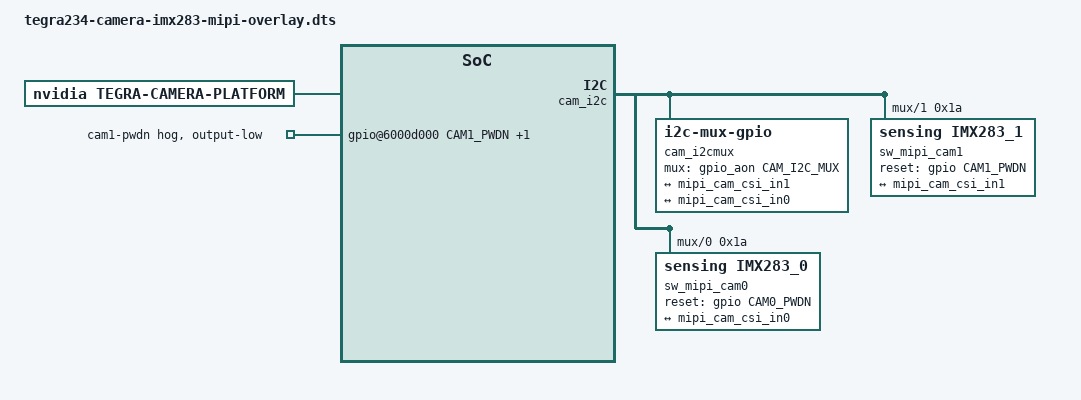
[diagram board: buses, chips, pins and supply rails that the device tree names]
// SPDX-License-Identifier: GPL-2.0-only
// SPDX-FileCopyrightText: Copyright (c) 2023-2024, NVIDIA CORPORATION & AFFILIATES. All rights reserved.

/dts-v1/;
/plugin/;

#define CAM0_PWDN	TEGRA234_MAIN_GPIO(H, 6)
#define CAM1_PWDN	TEGRA234_MAIN_GPIO(AC, 0)
#define CAM_I2C_MUX 	TEGRA234_AON_GPIO(CC, 3)

#include <dt-bindings/tegra234-p3767-0000-common.h>

/ {
	overlay-name = "Camera SG20-MIPI-IMX283";
	jetson-header-name = "Jetson 24pin CSI Connector";
	compatible = JETSON_COMPATIBLE_P3768;
	/* SG20-MIPI-imx283 connected to cam1 port */

	fragment@0 {
		target-path = "/";
		__overlay__ {
			tegra-capture-vi  {
				num-channels = <2>;
				ports {
					#address-cells = <1>;
					#size-cells = <0>;
					port@0 {
						reg = <0>;
						mipi_cam_vi_in0: endpoint {
							port-index = <1>;
							bus-width = <2>;
							remote-endpoint = <&mipi_cam_csi_out0>;
						};
					};
					port@1 {
						reg = <1>;
						mipi_cam_vi_in1: endpoint {
							port-index = <2>;
							bus-width = <4>;
							remote-endpoint = <&mipi_cam_csi_out1>;
						};
					};
				};
			};
			tegra-camera-platform {
				compatible = "nvidia, tegra-camera-platform";

				/**
				* Physical settings to calculate max ISO BW
				*
				* num_csi_lanes = <>;
				* Total number of CSI lanes when all cameras are active
				*
				* max_lane_speed = <>;
				* Max lane speed in Kbit/s
				*
				* min_bits_per_pixel = <>;
				* Min bits per pixel
				*
				* vi_peak_byte_per_pixel = <>;
				* Max byte per pixel for the VI ISO case
				*
				* vi_bw_margin_pct = <>;
				* Vi bandwidth margin in percentage
				*
				* max_pixel_rate = <>;
				* Max pixel rate in Kpixel/s for the ISP ISO case
				*
				* isp_peak_byte_per_pixel = <>;
				* Max byte per pixel for the ISP ISO case
				*
				* isp_bw_margin_pct = <>;
				* Isp bandwidth margin in percentage
				*/
				num_csi_lanes = <4>;
				max_lane_speed = <1500000>;
				min_bits_per_pixel = <10>;
				vi_peak_byte_per_pixel = <2>;
				vi_bw_margin_pct = <25>;
				max_pixel_rate = <7500000>;
				isp_peak_byte_per_pixel = <5>;
				isp_bw_margin_pct = <25>;

				/**
				 * The general guideline for naming badge_info contains 3 parts, and is as follows,
				 * The first part is the camera_board_id for the module; if the module is in a FFD
				 * platform, then use the platform name for this part.
				 * The second part contains the position of the module, ex. "rear" or "front".
				 * The third part contains the last 6 characters of a part number which is found
				 * in the module's specsheet from the vendor.
				 */
				modules {
					module0 {
						
						badge = "sgx_rear_imx283";
						position = "rear";
						orientation = "1";
						drivernode0 {
							pcl_id = "v4l2_sensor";
							sysfs-device-tree = "/sys/firmware/devicetree/base/bus@0/cam_i2cmux/i2c@1/cam_0@1a";
						};
					};
					module1 {
						badge = "sgx_front_imx283";
						position = "front";
						orientation = "1";
						drivernode0 {
							pcl_id = "v4l2_sensor";
							sysfs-device-tree = "/sys/firmware/devicetree/base/bus@0/cam_i2cmux/i2c@0/cam_1@1a";
						};
					};
				};
			};
			bus@0 {
				host1x@13e00000 {
					nvcsi@15a00000 {
						num-channels = <2>;
						#address-cells = <1>;
						#size-cells = <0>;
						channel@0 {
							reg = <0>;
							ports {
								#address-cells = <1>;
								#size-cells = <0>;
								port@0 {
									reg = <0>;
									mipi_cam_csi_in0: endpoint@0 {
										port-index = <1>;
										bus-width = <2>;
										remote-endpoint = <&mipi_cam_out0>;
									};
								};
								port@1 {
									reg = <1>;
									mipi_cam_csi_out0: endpoint@1 {
										remote-endpoint = <&mipi_cam_vi_in0>;
									};
								};
							};
						};
						channel@1 {
							reg = <1>;
							ports {
								#address-cells = <1>;
								#size-cells = <0>;
								port@0 {
									reg = <0>;
									mipi_cam_csi_in1: endpoint@2 {
										port-index = <2>;
										bus-width = <4>;
										remote-endpoint = <&mipi_cam_out1>;
									};
								};
								port@1 {
									reg = <1>;
									mipi_cam_csi_out1: endpoint@3 {
										remote-endpoint = <&mipi_cam_vi_in1>;
									};
								};
							};
						};
					};
				};
				cam_i2cmux {
					status = "okay";
					compatible = "i2c-mux-gpio";
					#address-cells = <1>;
					#size-cells = <0>;
					mux-gpios = <&gpio_aon CAM_I2C_MUX GPIO_ACTIVE_HIGH>;
					i2c-parent = <&cam_i2c>;
					i2c@0 {
						status = "okay";
						reg = <1>;
						#address-cells = <1>;
						#size-cells = <0>;
						rbpcv2_imx219_a@10 {
							status = "disabled";
						};

						sw_mipi_cam1: cam_1@1a {
							compatible = "sensing,imx283_1";
							/* I2C device address */
							reg = <0x1a>;

							/* V4L2 device node location */
							devnode = "video1";

							/* Physical dimensions of sensor */
							physical_w = "3.680";
							physical_h = "2.760";

							sensor_model = "imx283";				
							
							/* Defines number of frames to be dropped by driver internally after applying */
							/* sensor crop settings. Some sensors send corrupt frames after applying */
							/* crop co-ordinates */
							//post_crop_frame_drop = "0";

							/* Convert Gain to unit of dB (decibel) befor passing to kernel driver */
							use_decibel_gain = "false";

							/* if true, delay gain setting by one frame to be in sync with exposure */
							//delayed_gain = "true";

							/* enable CID_SENSOR_MODE_ID for sensor modes selection */

							use_sensor_mode_id = "true";

							reset-gpios = <&gpio CAM1_PWDN GPIO_ACTIVE_HIGH>;

							mode0 {
								mclk_khz = "24000";
								num_lanes = "4";
								tegra_sinterface = "serial_c";
								phy_mode = "DPHY";
								discontinuous_clk = "yes";
								dpcm_enable = "false";
								cil_settletime = "0";
								lane_polarity = "0";

								active_w = "5496";
								active_h = "3694";
								mode_type = "bayer";
								pixel_phase = "rggb";
								csi_pixel_bit_depth = "12";
								readout_orientation = "90";
								line_length = "5740";  
								inherent_gain = "1";
								mclk_multiplier = "20";
								pix_clk_hz = "480000000";

								gain_factor = "100";
								min_gain_val = "100"; /* 0db */
								max_gain_val = "2250"; /* "27db" */
								step_gain_val = "1";
								default_gain = "100"; /* 0.00db */
								min_hdr_ratio = "1";
								max_hdr_ratio = "1";
								framerate_factor = "1000000";
								min_framerate = "20000000";/* 2.0fps */
								max_framerate = "20000000";/* 20.0fps */
								step_framerate = "1";
								default_framerate = "20000000"; /* 20.0fps */
								exposure_factor = "1000000";
								min_exp_time = "3000"; /* us */
								max_exp_time = "40000"; /* us */
								step_exp_time = "100";
								default_exp_time = "30000"; /* us */

								/* readout related settings */
								// num_of_exposure = "1";
								// num_of_ignored_lines = "24";
								// num_of_lines_offset_0 = "0";
								// num_of_ignored_pixels = "0";
								// num_of_left_margin_pixels = "108";
								// num_of_right_margin_pixels = "12";
								embedded_metadata_height = "1";
							};
							mode1{
								mclk_khz = "24000";
								num_lanes = "4";
								tegra_sinterface = "serial_c";
								phy_mode = "DPHY";
								discontinuous_clk = "yes";
								dpcm_enable = "false";
								cil_settletime = "0";
								lane_polarity = "0";

								active_w = "5496";
								active_h = "3694";
								mode_type = "bayer";
								pixel_phase = "rggb";
								csi_pixel_bit_depth = "10";
								readout_orientation = "90";
								line_length = "5592";
								inherent_gain = "1";
								mclk_multiplier = "21";
								pix_clk_hz = "518000000";

								gain_factor = "100";
								min_gain_val = "100"; /* 0db */
								max_gain_val = "2250"; /* "27db" */
								step_gain_val = "1";
								default_gain = "100"; /* 0.00db */
								min_hdr_ratio = "1";
								max_hdr_ratio = "1";
								framerate_factor = "1000000";
								min_framerate = "2000000";/* 2.0fps */
								max_framerate = "25000000";/* 25.0fps */
								step_framerate = "1";
								default_framerate = "25000000"; /* 25.0fps */
								exposure_factor = "1000000";
								min_exp_time = "3000"; /* us */
								max_exp_time = "40000"; /* us */
								step_exp_time = "100";
								default_exp_time = "33000"; /* us */
								embedded_metadata_height = "1";
							};
							mode2{
								mclk_khz = "24000";
								num_lanes = "4";
								tegra_sinterface = "serial_c";
								phy_mode = "DPHY";
								discontinuous_clk = "yes";
								dpcm_enable = "false";
								cil_settletime = "0";
								lane_polarity = "0";

								active_w = "2748";
								active_h = "1842";
								mode_type = "bayer";
								pixel_phase = "rggb";
								csi_pixel_bit_depth = "12";
								readout_orientation = "90";
								line_length = "2976";
								inherent_gain = "1";
								mclk_multiplier = "12";
								pix_clk_hz = "288000000";

								gain_factor = "100";
								min_gain_val = "100"; /* 0db */
								max_gain_val = "2250"; /* "27db" */
								step_gain_val = "1";
								default_gain = "100"; /* 0.00db */
								min_hdr_ratio = "1";
								max_hdr_ratio = "1";
								framerate_factor = "1000000";
								min_framerate = "2000000";/* 2.0fps */
								max_framerate = "50000000";/* 50.0fps */
								step_framerate = "1";
								default_framerate = "50000000"; /* 50.0fps */
								exposure_factor = "1000000";
								min_exp_time = "1000"; /* us */
								max_exp_time = "20000"; /* us */
								step_exp_time = "100";
								default_exp_time = "15000"; /* us */
								embedded_metadata_height = "1";
							};
							mode3{
								mclk_khz = "24000";
								num_lanes = "4";
								tegra_sinterface = "serial_c";
								phy_mode = "DPHY";
								discontinuous_clk = "yes";
								dpcm_enable = "false";
								cil_settletime = "0";
								lane_polarity = "0";

								active_w = "1832";
								active_h = "1234";
								mode_type = "bayer";
								pixel_phase = "rggb";
								csi_pixel_bit_depth = "12";
								readout_orientation = "90";
								line_length = "2200";
								inherent_gain = "1";
								mclk_multiplier = "12";
								pix_clk_hz = "288000000";

								gain_factor = "100";
								min_gain_val = "100"; /* 0db */
								max_gain_val = "2250"; /* "27db" */
								step_gain_val = "1";
								default_gain = "100"; /* 0.00db */
								min_hdr_ratio = "1";
								max_hdr_ratio = "1";
								framerate_factor = "1000000";
								min_framerate = "2000000";/* 2.0fps */
								max_framerate = "60000000";/* 60.0fps */
								step_framerate = "1";
								default_framerate = "60000000"; /* 60.0fps */
								exposure_factor = "1000000";
								min_exp_time = "3000"; /* us */
								max_exp_time = "16670"; /* us */
								step_exp_time = "100";
								default_exp_time = "12000"; /* us */
								embedded_metadata_height = "1";
							};
							mode4{
								mclk_khz = "24000";
								num_lanes = "4";
								tegra_sinterface = "serial_c";
								phy_mode = "DPHY";
								discontinuous_clk = "yes";
								dpcm_enable = "false";
								cil_settletime = "0";
								lane_polarity = "0";

								active_w = "3872";
								active_h = "2174";
								mode_type = "bayer";
								pixel_phase = "rggb";
								csi_pixel_bit_depth = "10";
								readout_orientation = "90";
								line_length = "3968";
								inherent_gain = "1";
								mclk_multiplier = "21";
								pix_clk_hz = "504000000";

								gain_factor = "100";
								min_gain_val = "100"; /* 0db */
								max_gain_val = "2250"; /* "27db" */
								step_gain_val = "1";
								default_gain = "100"; /* 0.00db */
								min_hdr_ratio = "1";
								max_hdr_ratio = "1";
								framerate_factor = "1000000";
								min_framerate = "2000000";/* 2.0fps */
								max_framerate = "60000000";/* 60.0fps */
								step_framerate = "1";
								default_framerate = "60000000"; /* 60.0fps */
								exposure_factor = "1000000";
								min_exp_time = "1000"; /* us */
								max_exp_time = "16670"; /* us */
								step_exp_time = "100";
								default_exp_time = "15000"; /* us */
								embedded_metadata_height = "1";
							};

							ports {
								#address-cells = <1>;
								#size-cells = <0>;

								port@0 {
									reg = <0>;
									mipi_cam_out1: endpoint {
										port-index = <2>;
										bus-width = <4>;
										remote-endpoint = <&mipi_cam_csi_in1>;
									};
								};
							};
						};
					};
					i2c@1 {
						status = "okay";
						reg = <0>;
						#address-cells = <1>;
						#size-cells = <0>;
						rbpcv2_imx219_c@10 {
							status = "disabled";
						};
						sw_mipi_cam0: cam_0@1a {
							compatible = "sensing,imx283_0";
							/* I2C device address */
							reg = <0x1a>;

							/* V4L2 device node location */
							devnode = "video0";

							/* Physical dimensions of sensor */
							physical_w = "3.680";
							physical_h = "2.760";

							sensor_model = "imx283";				
							
							/* Defines number of frames to be dropped by driver internally after applying */
							/* sensor crop settings. Some sensors send corrupt frames after applying */
							/* crop co-ordinates */
							//post_crop_frame_drop = "0";

							/* Convert Gain to unit of dB (decibel) befor passing to kernel driver */
							use_decibel_gain = "false";

							/* if true, delay gain setting by one frame to be in sync with exposure */
							//delayed_gain = "true";

							/* enable CID_SENSOR_MODE_ID for sensor modes selection */

							use_sensor_mode_id = "true";

							reset-gpios = <&gpio CAM0_PWDN GPIO_ACTIVE_HIGH>;

							mode0 {
								mclk_khz = "24000";
								num_lanes = "4";
								tegra_sinterface = "serial_a";
								phy_mode = "DPHY";
								discontinuous_clk = "yes";
								dpcm_enable = "false";
								cil_settletime = "0";
								lane_polarity = "0";

								active_w = "5496";
								active_h = "3694";
								mode_type = "bayer";
								pixel_phase = "rggb";
								csi_pixel_bit_depth = "12";
								readout_orientation = "90";
								line_length = "5740";  
								inherent_gain = "1";
								mclk_multiplier = "20";
								pix_clk_hz = "480000000";

								gain_factor = "100";
								min_gain_val = "100"; /* 0db */
								max_gain_val = "2250"; /* 27db */
								step_gain_val = "1";
								default_gain = "100"; /* 0db */
								min_hdr_ratio = "1";
								max_hdr_ratio = "1";
								framerate_factor = "1000000";
								min_framerate = "2000000";/* 2.0fps */
								max_framerate = "20000000";/* 20.0fps */
								step_framerate = "1";
								default_framerate = "20000000"; /* 20.0fps */
								exposure_factor = "1000000";
								min_exp_time = "3000"; /* us */
								max_exp_time = "40000"; /* us */
								step_exp_time = "100";
								default_exp_time = "30000"; /* us */
								embedded_metadata_height = "1";
							};
							mode1{
								mclk_khz = "24000";
								num_lanes = "4";
								tegra_sinterface = "serial_a";
								phy_mode = "DPHY";
								discontinuous_clk = "yes";
								dpcm_enable = "false";
								cil_settletime = "0";
								lane_polarity = "0";

								active_w = "5496";
								active_h = "3694";
								mode_type = "bayer";
								pixel_phase = "rggb";
								csi_pixel_bit_depth = "10";
								readout_orientation = "90";
								line_length = "5740";
								inherent_gain = "1";
								mclk_multiplier = "21";
								pix_clk_hz = "518000000";

								gain_factor = "100";
								min_gain_val = "100"; /* 0db */
								max_gain_val = "2250"; /* 27db */
								step_gain_val = "1";
								default_gain = "100"; /* 0db */
								min_hdr_ratio = "1";
								max_hdr_ratio = "1";
								framerate_factor = "1000000";
								min_framerate = "2000000";/* 2.0fps */
								max_framerate = "25000000";/* 25.0fps */
								step_framerate = "1";
								default_framerate = "25000000"; /* 25.0fps */
								exposure_factor = "1000000";
								min_exp_time = "1000"; /* us */
								max_exp_time = "40000"; /* us */
								step_exp_time = "100";
								default_exp_time = "33000"; /* us */
								embedded_metadata_height = "1";
							};
							mode2{
								mclk_khz = "24000";
								num_lanes = "4";
								tegra_sinterface = "serial_a";
								phy_mode = "DPHY";
								discontinuous_clk = "yes";
								dpcm_enable = "false";
								cil_settletime = "0";
								lane_polarity = "0";

								active_w = "2748";
								active_h = "1842";
								mode_type = "bayer";
								pixel_phase = "rggb";
								csi_pixel_bit_depth = "12";
								readout_orientation = "90";
								line_length = "2976";
								inherent_gain = "1";
								mclk_multiplier = "12";
								pix_clk_hz = "288000000";

								gain_factor = "100";
								min_gain_val = "100"; /* 0db */
								max_gain_val = "2250"; /* "27db" */
								step_gain_val = "1";
								default_gain = "100"; /* 0.00db */
								min_hdr_ratio = "1";
								max_hdr_ratio = "1";
								framerate_factor = "1000000";
								min_framerate = "2000000";/* 2.0fps */
								max_framerate = "50000000";/* 50.0fps */
								step_framerate = "1";
								default_framerate = "50000000"; /* 50.0fps */
								exposure_factor = "1000000";
								min_exp_time = "1000"; /* us */
								max_exp_time = "20000"; /* us */
								step_exp_time = "100";
								default_exp_time = "15000"; /* us */
								embedded_metadata_height = "1";
							};
							mode3{
								mclk_khz = "24000";
								num_lanes = "4";
								tegra_sinterface = "serial_a";
								phy_mode = "DPHY";
								discontinuous_clk = "yes";
								dpcm_enable = "false";
								cil_settletime = "0";
								lane_polarity = "0";

								active_w = "1832";
								active_h = "1234";
								mode_type = "bayer";
								pixel_phase = "rggb";
								csi_pixel_bit_depth = "12";
								readout_orientation = "90";
								line_length = "2200";
								inherent_gain = "1";
								mclk_multiplier = "12";
								pix_clk_hz = "288000000";

								gain_factor = "100";
								min_gain_val = "100"; /* 0db */
								max_gain_val = "2250"; /* "27db" */
								step_gain_val = "1";
								default_gain = "100"; /* 0.00db */
								min_hdr_ratio = "1";
								max_hdr_ratio = "1";
								framerate_factor = "1000000";
								min_framerate = "2000000";/* 2.0fps */
								max_framerate = "60000000";/* 60.0fps */
								step_framerate = "1";
								default_framerate = "60000000"; /* 60.0fps */
								exposure_factor = "1000000";
								min_exp_time = "1000"; /* us */
								max_exp_time = "16670"; /* us */
								step_exp_time = "100";
								default_exp_time = "12000"; /* us */
								embedded_metadata_height = "1";
							};
							mode4{
								mclk_khz = "24000";
								num_lanes = "4";
								tegra_sinterface = "serial_a";
								phy_mode = "DPHY";
								discontinuous_clk = "yes";
								dpcm_enable = "false";
								cil_settletime = "0";
								lane_polarity = "0";

								active_w = "3872";
								active_h = "2174";
								mode_type = "bayer";
								pixel_phase = "rggb";
								csi_pixel_bit_depth = "10";
								readout_orientation = "90";
								line_length = "3968";
								inherent_gain = "1";
								mclk_multiplier = "21";
								pix_clk_hz = "504000000";

								gain_factor = "100";
								min_gain_val = "100"; /* 0db */
								max_gain_val = "2250"; /* "27db" */
								step_gain_val = "1";
								default_gain = "100"; /* 0.00db */
								min_hdr_ratio = "1";
								max_hdr_ratio = "1";
								framerate_factor = "1000000";
								min_framerate = "2000000";/* 2.0fps */
								max_framerate = "60000000";/* 60.0fps */
								step_framerate = "1";
								default_framerate = "60000000"; /* 60.0fps */
								exposure_factor = "1000000";
								min_exp_time = "1000"; /* us */
								max_exp_time = "16670"; /* us */
								step_exp_time = "100";
								default_exp_time = "15000"; /* us */
								embedded_metadata_height = "1";
							};

							ports {
								#address-cells = <1>;
								#size-cells = <0>;

								port@0 {
									reg = <0>;
									mipi_cam_out0: endpoint {
										port-index = <0>;
										bus-width = <4>;
										remote-endpoint = <&mipi_cam_csi_in0>;
									};
								};
							};
						};
					};
				};
				gpio@6000d000 {
					camera-control-output-low {
						gpio-hog;
						output-low;
						gpios = <CAM1_PWDN 0  CAM0_PWDN 0>;
						label = "cam1-pwdn", "cam0-pwdn";
					};
				};
			};
		};
	};
};
